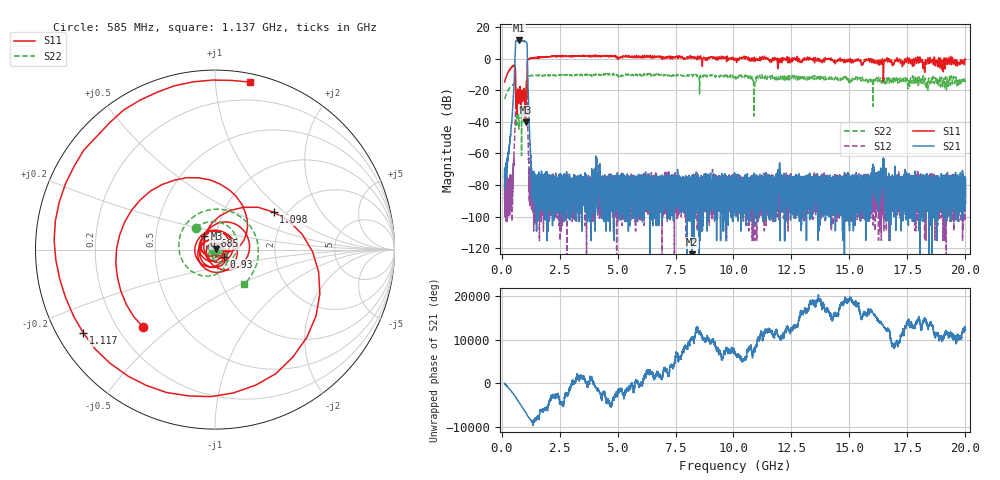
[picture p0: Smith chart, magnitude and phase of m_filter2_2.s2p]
!Created with skrf (http://scikit-rf.org).
# GHz S RI R 50.0
!freq ReS11 ImS11 ReS21 ImS21 ReS12 ImS12 ReS22 ImS22
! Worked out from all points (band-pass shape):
!   20013 points, 130 MHz to 20 GHz, reference 50 ohm
!   highest |S21| = 11.41 dB at 730 MHz (marker M1); lowest = -178.5 dB at 8.198 GHz (marker M2)
!   |S21| within 3 dB of the highest: 598.8 MHz to 1.099 GHz (500.7 MHz wide, 59 % of centre)
!   lowest |S11| = -40.3 dB at 1.032 GHz (marker M3), VSWR 1.02, Z = 50.8 + j0.513 ohm
!   |S11| at or under -10 dB: start of sweep to 245.6 MHz; 604.1 MHz to 1.097 GHz (492.5 MHz wide, 57.9 % of centre); 16.45876 GHz to 16.46975 GHz (10.99 MHz wide, 0.0667 % of centre)
!   |S22| runs from -61.3 to -9.4 dB; largest |S21 - S12| = 3.7
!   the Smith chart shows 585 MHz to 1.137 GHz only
!   S11 on the Smith chart (normalised r, x): 585 MHz: 0.30, -0.40; 685 MHz: 0.88, +0.13; 930 MHz: 1.10, -0.09; 1.098 GHz: 1.71, +0.84; 1.117 GHz: 0.08, -0.29; 1.137 GHz: 0.06, +1.23
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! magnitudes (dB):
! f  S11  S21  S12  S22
! 130 MHz  -14.7  -74.2  -80.0  -25.6
! 422 MHz  -5.5  -42.3  -88.0  -17.5
! 585 MHz  -4.6  2.8  -39.3  -15.8
! 685 MHz  -20.3  11.3  -28.7  -38.4
! 730 MHz  -27.4  11.4  -27.7  -36.6
! 930 MHz  -24.2  10.9  -25.1  -31.0
! 1.032 GHz  -40.3  10.7  -24.3  -35.2
! 1.098 GHz  -8.2  8.9  -25.5  -20.3
! 1.117 GHz  -1.2  -3.3  -37.4  -13.1
! 1.137 GHz  -0.4  -15.7  -50.0  -12.0
! 1.265 GHz  0.2  -67.2  -76.0  -10.8
! 1.392 GHz  0.5  -81.5  -83.8  -10.6
! 3.442 GHz  1.7  -76.2  -99.0  -10.0
! 4.147 GHz  1.8  -77.9  -82.9  -9.9
! 4.356 GHz  1.4  -85.0  -79.2  -10.7
! 6.754 GHz  1.5  -81.4  -81.7  -10.0
! 8.198 GHz  0.9  -178.5  -79.3  -10.3
! 10.06 GHz  -0.1  -84.6  -84.1  -11.1
! 13.38 GHz  -0.3  -74.6  -92.1  -12.6
! 16.41 GHz  -0.4  -75.7  -79.2  -12.9
! 16.69 GHz  0.0  -79.2  -92.8  -12.9
! 20 GHz  -0.5  -83.6  -81.2  -14.4
